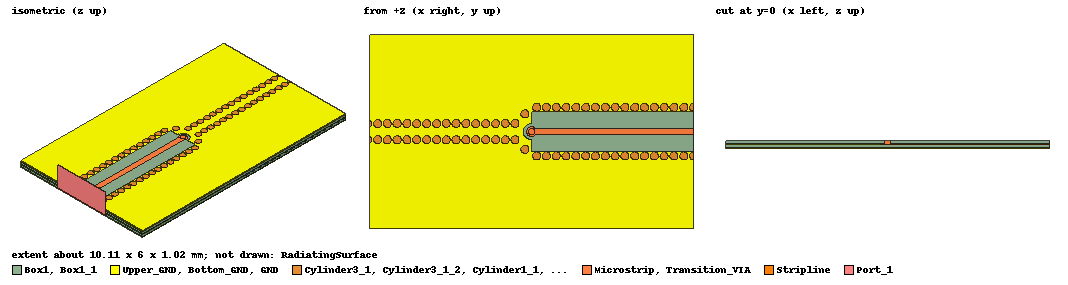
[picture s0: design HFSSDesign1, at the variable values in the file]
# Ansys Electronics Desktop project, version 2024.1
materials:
  vacuum: permittivity=1
  Custom_ADM_Sub: permittivity=3.3 dielectric_loss_tangent=0.003
  copper: permeability=0.999991 conductivity=58000000
  Custom_ADM_Material: permittivity=3.3 dielectric_loss_tangent=0.003 delta_H_freq=10GHz

design HFSSDesign1 (HFSS, HFSS Terminal Network, model units mm)
options: Allow_Material_Override Calculate_Lossy_Dielectrics
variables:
  microstrip_length = 5mm
  SL_length = 5mm
  SL_width = 0.092mm
  sub_thick = 100um
  track_length = 10mm
  track_width = 0.215mm
  G_Spacing = 0.5mm
  copper_thick = 20um
  port_width = track_width+0.02mm
  pitch = 0.303mm
  VIA_D = 0.25mm
  sub_width = 6mm
  Clear = 0.5mm
  pitch_MS = 0.3025mm
  T_VIA_D = 0.2mm
  Pad_D = 0.3mm
  VIA_space_SL = 0.25mm
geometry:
  RadiatingSurface [vacuum] = region(absolute_offset: +X=0mm, -X=0mm, +Y=2mm, -Y=2mm, +Z=2mm, -Z=2mm)
  Box1 [Custom_ADM_Material] = box(corner=(-track_length/2, -sub_width/2, 0mm), size=(track_length, sub_width, -sub_thick))
  Box1_1 [Custom_ADM_Material] = Box1.duplicate_along_line(step=(0mm, 0mm, -sub_thick-copper_thick), total=2)
  Microstrip [copper] = rectangle(corner=(track_length/2, -track_width/2, copper_thick), x_size=-microstrip_length, y_size=track_width)
  Microstrip.thicken(20um)
  Rectangle1 = rectangle(corner=(-track_length/2, track_width/2+G_Spacing, 0mm), x_size=track_length, y_size=3mm-track_width/2-G_Spacing)
  Upper_GND [copper] = Rectangle1.duplicate_along_line(step=(0mm, -G_Spacing-track_width/2-3mm, 0mm), total=2)
  Upper_GND.unite(Rectangle1)
  Upper_GND.thicken(20um)
  Port_1 = rectangle(corner=(track_length/2, -5*port_width, -2*sub_thick-copper_thick), y_size=10*port_width, z_size=10*sub_thick)
  Bottom_GND [copper] = object_from(Box1_1.face(2 of 6))
  Bottom_GND.thicken(copper_thick)
  Cylinder1 = cylinder(axis=Z, base_centre=(track_length/2, G_Spacing+VIA_D, -2*sub_thick-2*copper_thick), radius=VIA_D/2, height=2*sub_thick+3*copper_thick)
  Cylinder1_1 [copper], Cylinder1_33 = Cylinder1.duplicate_along_line(step=(-pitch, 0mm, 0mm), total=34)  # copies kept: 1, 33
  Cylinder1.delete()
  Cylinder1_33_1 = Cylinder1_33.duplicate_along_line(step=(0mm, -2*(G_Spacing+VIA_D), 0mm), total=2)
  Box3 = box(corner=(-5mm, 3mm, 0.02mm), size=(-2.3355186mm, -6.562601mm, -0.26mm))
  Box3_1 = Box3.copy()
  Cylinder1_33.subtract(Box3_1)
  Cylinder1_33_2 [copper] = Cylinder1_33.duplicate_around_axis(axis=Z, angle=180deg, total=2)
  Cylinder1_33.delete()
  Cylinder1_33_1.subtract(Box3)
  Cylinder1_33_1_1 [copper] = Cylinder1_33_1.duplicate_around_axis(axis=Z, angle=180deg, total=2)
  Cylinder1_33_1.delete()
  Rectangle3 = rectangle(corner=(-track_length/2, -sub_width/2, 0mm), x_size=track_length/2, y_size=sub_width)
  Rectangle3.thicken(copper_thick)
  Cylinder2 = cylinder(axis=Z, base_centre=(0mm, 0mm, copper_thick), radius=Clear/2, height=-3*copper_thick-2*sub_thick)
  Cylinder1_1_1..Cylinder1_1_15 = Cylinder1_1.duplicate_along_line(step=(-pitch_MS, 0mm, 0mm), total=16)
  Cylinder1_1.unite(Cylinder1_1_1..Cylinder1_1_15)
  Cylinder1_1_16 [copper] = Cylinder1_1.duplicate_along_line(step=(0mm, -2*G_Spacing-2*VIA_D, 0mm), total=2)
  GND [copper] = rectangle(corner=(track_length/2, -sub_width/2, -sub_thick), x_size=-microstrip_length, y_size=sub_width)
  GND.thicken(copper_thick)
  Upper_GND.unite(Rectangle3)
  Cylinder2_1 = Cylinder2.copy()
  GND.subtract(Cylinder2_1)
  Upper_GND.subtract(Cylinder2)
  Stripline [copper] = rectangle(corner=(-track_length/2, -SL_width/2, -sub_thick), x_size=SL_length, y_size=SL_width)
  Stripline.thicken(-copper_thick)
  Transition_VIA [copper] = cylinder(axis=Z, base_centre=(0mm, 0mm, copper_thick), radius=T_VIA_D/2, height=-sub_thick-2*copper_thick)
  VIA_Pad = circle(normal=Z, centre=(0mm, 0mm, 0mm), radius=Pad_D/2)
  VIA_Pad.thicken(copper_thick)
  VIA_Pad_1 = VIA_Pad.duplicate_along_line(step=(0mm, 0mm, -copper_thick-sub_thick), total=2)
  Stripline.unite(VIA_Pad_1)
  Microstrip.unite(VIA_Pad)
  Cylinder3 [copper] = cylinder(axis=Z, base_centre=(-track_length/2-0.05mm, VIA_space_SL, copper_thick), radius=VIA_D/2, height=-3*copper_thick-2*sub_thick)
  Cylinder3_1 [copper], Cylinder3_2..Cylinder3_14 = Cylinder3.duplicate_along_line(step=(pitch, 0mm, 0mm), total=15)
  Cylinder3_14_1 = Cylinder3_14.duplicate_along_line(step=(pitch, 0mm, 0mm), total=2)
  Cylinder3_14_1_1 = Cylinder3_14_1.duplicate_along_line(step=(pitch, 0.3mm, 0mm), total=2)
  Cylinder3_15 [copper] = Cylinder3.duplicate_mirror(point=(0mm, 0mm, 0mm), normal=(0mm, 1mm, 0mm))
  Box4 = box(corner=(-5mm, 3mm, 0.02mm), size=(-2.4497879mm, -6.2257016mm, -0.26mm))
  Box4_1 = Box4.copy()
  Cylinder3.subtract(Box4_1)
  Cylinder3_15.subtract(Box4)
  Port_2 = rectangle(corner=(-track_length/2, -4*SL_width, 0mm), y_size=8*SL_width, z_size=-2*sub_thick-copper_thick)
  Cylinder3_1.unite(Cylinder3_2..Cylinder3_14, Cylinder3_14_1, Cylinder3_14_1_1)
  Cylinder3_1_2 [copper] = Cylinder3_1.duplicate_mirror(point=(0mm, 0mm, 0mm), normal=(0mm, 1mm, 0mm))
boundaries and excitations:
  Open1: Radiation Objects=RadiatingSurface
  Microstrip_T1: Terminal port=1 Faces=Microstrip.face(at (5, 0, 0.01)) TerminalResistance=50ohm
  Stripline_T1: Terminal port=2 Faces=Stripline.face(at (-5, 0, -0.11)) TerminalResistance=50ohm
  1: Wave Port Faces=Port_1.face WavePortType=Terminal NumModes=1
  2: Wave Port Faces=Port_2.face WavePortType=Terminal NumModes=1
  reference conductors: Bottom_GND, Cylinder3, Cylinder3_15, Upper_GND
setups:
  Setup1: HfssDriven Frequency=10GHz MaxDeltaS=0.02 MaximumPasses=20 MinimumPasses=1 MinimumConvergedPasses=1 PercentRefinement=30 BasisOrder=1 PortAccuracy=2 DrivenSolverType="Direct Solver"
    sweep Sweep: 0GHz to 50GHz, 401 points; Type=Interpolating InterpTolerance=0.5 InterpMaxSolns=250 MinSolvedFreq=0.01GHz PassivityErrorTolerance=0.0001
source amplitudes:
  1:1: 1V 0deg
  2:1: 0V 0deg
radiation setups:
  3D: Infinite Sphere Theta=0deg..180deg step 2deg Phi=-180deg..180deg step 2deg
  Elevation: Infinite Sphere Theta=-180deg..180deg step 1deg Phi=0deg..90deg step 90deg
  Azimuth: Infinite Sphere Theta=90deg..90deg step 0deg Phi=-180deg..180deg step 1deg
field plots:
  Mag_E1: E Field over Microstrip.face(at (2.40955, 0, 0), at (2.40955, 0, 0.02), at (-0.15, 0, 0.01)) Stripline.face(at (-2.40955, 0, -0.12), at (-2.40955, 0, -0.1), at (0.15, 0, -0.11)) Transition_VIA.face(all 3) on Setup1 : LastAdaptive at Freq=10GHz Phase=0deg
  Mag_E2: E Field in Box1, Box1_1 on Setup1 : LastAdaptive at Freq=10GHz Phase=0deg
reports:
  Terminal S Parameter Plot 1: dB(St(Microstrip_T1,Microstrip_T1)) vs Freq on Setup1 : Sweep
  Terminal S Parameter Plot 2: dB(St(Stripline_T1,Microstrip_T1)) vs Freq on Setup1 : Sweep
  Terminal S Parameter Plot 3: dB(St(Microstrip_T1,Stripline_T1)) vs Freq on Setup1 : Sweep
